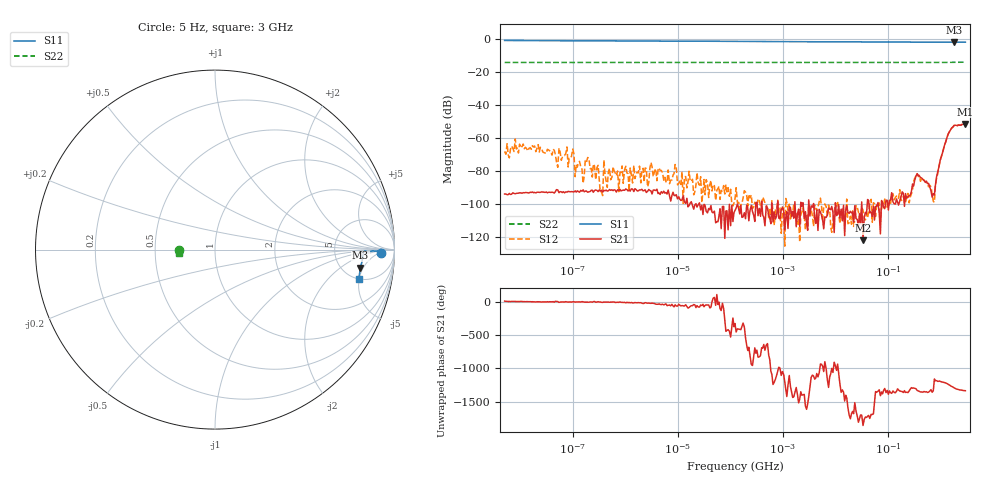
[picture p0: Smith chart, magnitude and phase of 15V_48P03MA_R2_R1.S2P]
!Agilent Technologies,E5061B,MY49100127,A.01.10
!Date: Thu Apr 01 12:34:10 2010
!Data & Calibration Information:
!Freq	S11:SOLT2(ON)	S21:SOLT2(ON)	S12:SOLT2(ON)	S22:SOLT2(ON)
# Hz S dB R 50
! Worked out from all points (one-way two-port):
!   401 points, 5 Hz to 3 GHz, reference 50 ohm
!   highest |S21| = -51.28 dB at 3 GHz (marker M1); lowest = -121.7 dB at 33.65 MHz (marker M2)
!   lowest |S11| = -1.8 dB at 1.829 GHz (marker M3), VSWR 9.85, Z = 360 - j217 ohm
!   |S11| at or under -10 dB: nowhere
!   |S22| runs from -14.1 to -13.9 dB; largest |S21 - S12| = 0.00094
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5  -0.69 -1.1  -93.68 15.8  -67.93 19.2  -14.03 179.9
10.753  -0.77 -0.8  -93.23 9.9  -64.89 -7.8  -14.03 179.9
40.004  -0.83 -0.5  -92.52 4.9  -70.15 -81.9  -14.03 179.9
54.322  -0.84 -0.5  -92.89 -3.7  -65.92 -75.8  -14.03 179.9
69.204  -0.85 -0.5  -92.96 2.5  -70.37 -75.7  -14.03 179.9
89.096  -0.86 -0.5  -92.40 4.0  -72.15 -125.0  -14.03 179.9
93.713  -0.86 -0.5  -92.20 1.0  -71.00 98.4  -14.03 179.9
121.372  -0.87 -0.5  -91.77 3.0  -77.39 -143.5  -14.03 179.9
148.828  -0.89 -0.5  -91.97 8.0  -78.66 -109.4  -14.03 179.9
191.425  -0.90 -0.6  -92.62 0.0  -71.57 -165.4  -14.03 179.9
234.104  -0.91 -0.6  -91.40 -0.5  -83.44 -34.3  -14.03 179.9
331.464  -0.93 -0.6  -91.94 3.4  -92.33 -132.3  -14.03 179.9
4387.734  -1.07 -0.5  -93.13 -25.8  -77.81 40.8  -14.04 179.9
128822.3  -1.23 -0.6  -102.22 -91.0  -89.88 80.9  -14.04 179.9
3655600  -1.48 -0.7  -101.69 -20.9  -107.20 -144.5  -14.04 180.0
3.364687e7  -1.58 -0.5  -121.72 -60.9  -103.38 70.1  -14.04 -179.9
1.073576e8  -1.62 -0.8  -97.55 101.0  -98.85 71.7  -14.03 -179.8
8.063831e8  -1.69 -3.4  -88.31 -107.5  -88.16 -118.1  -14.01 -178.4
9.483098e8  -1.70 -4.0  -76.73 -110.5  -76.24 -109.9  -14.00 -178.2
1.416459e9  -1.74 -5.8  -57.24 -160.4  -57.21 -159.3  -13.96 -177.3
1.829111e9  -1.77 -7.1  -52.16 147.7  -52.11 149.2  -13.93 -176.7
3e9  -1.76 -11.4  -51.28 103.3  -51.27 104.6  -13.86 -174.7
